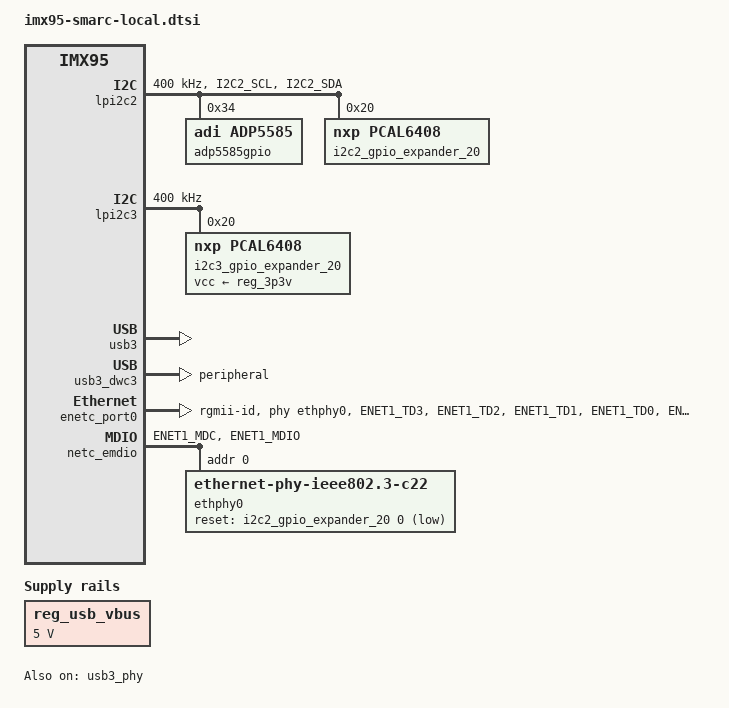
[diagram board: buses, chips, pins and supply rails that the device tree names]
// SPDX-License-Identifier: GPL-2.0+
/*
 * Copyright 2025 NXP
 */

#include <dt-bindings/usb/pd.h>

/ {
	aliases {
		ethernet0 = &enetc_port0;
		spi0 = &flexspi1;
		usb0 = &usb3_dwc3;
	};

	chosen {
		bootargs = "console=ttyLP0,115200 earlycon";
	};

	reg_usb_vbus: regulator-vbus {
		compatible = "regulator-fixed";
		regulator-name = "USB_VBUS";
		regulator-min-microvolt = <5000000>;
		regulator-max-microvolt = <5000000>;
		enable-active-high;
		regulator-always-on;
	};

};

&lpi2c2 {
	#address-cells = <1>;
	#size-cells = <0>;
	clock-frequency = <400000>;
	pinctrl-names = "default", "sleep";
	pinctrl-0 = <&pinctrl_lpi2c2>;
	pinctrl-1 = <&pinctrl_lpi2c2>;
	status = "okay";

	adp5585gpio: gpio@34 {
		compatible = "adi,adp5585";
		reg = <0x34>;
		gpio-controller;
		#gpio-cells = <2>;
	};

	i2c2_gpio_expander_20: i2c2-gpio-expander@20 {
		compatible = "nxp,pcal6408";
		reg = <0x20>;
		gpio-controller;
		#gpio-cells = <2>;
	};
};

&lpi2c3 {
	#address-cells = <1>;
	#size-cells = <0>;
	clock-frequency = <400000>;
	pinctrl-names = "default", "sleep";
	pinctrl-0 = <&pinctrl_lpi2c3>;
	pinctrl-1 = <&pinctrl_lpi2c3>;
	status = "okay";

	i2c3_gpio_expander_20: i2c3-gpio-expander@20 {
		compatible = "nxp,pcal6408";
		#gpio-cells = <2>;
		gpio-controller;
		reg = <0x20>;
		vcc-supply = <&reg_3p3v>;
	};
};

&lpi2c7 {
};

&usb3 {
	status = "okay";
};

&usb3_phy {
	status = "okay";
};

&usb3_dwc3 {
	dr_mode = "peripheral";
	status = "okay";
};

&enetc_port0 {
	pinctrl-names = "default";
	pinctrl-0 = <&pinctrl_enetc0>;
	phy-handle = <&ethphy0>;
	phy-mode = "rgmii-id";
	status = "okay";
};

&netc_emdio {
	pinctrl-names = "default";
	pinctrl-0 = <&pinctrl_emdio>;
	status = "okay";

	ethphy0: ethernet-phy@0 {
		reg = <0>;
		compatible = "ethernet-phy-ieee802.3-c22";
		eee-broken-1000t;
		reset-gpios = <&i2c2_gpio_expander_20 0 GPIO_ACTIVE_LOW>;
		reset-assert-us = <35000>;
		reset-deassert-us = <75000>;
		rx-internal-delay-ps = <1900>;
	};
};

&scmi_iomuxc {
	pinctrl_lpi2c2: lpi2c2grp {
		fsl,pins = <
			IMX95_PAD_I2C2_SCL__AONMIX_TOP_LPI2C2_SCL	0x40000b9e
			IMX95_PAD_I2C2_SDA__AONMIX_TOP_LPI2C2_SDA	0x40000b9e
		>;
	};

	pinctrl_ptn5110: ptn5110grp {
		fsl,pins = <
			IMX95_PAD_GPIO_IO34__GPIO5_IO_BIT14			0x31e
		>;
	};

	pinctrl_emdio: emdiogrp{
		fsl,pins = <
			IMX95_PAD_ENET1_MDC__NETCMIX_TOP_NETC_MDC		0x57e
			IMX95_PAD_ENET1_MDIO__NETCMIX_TOP_NETC_MDIO		0x97e
		>;
	};

	pinctrl_enetc0: enetc0grp {
		fsl,pins = <
			IMX95_PAD_ENET1_TD3__NETCMIX_TOP_ETH0_RGMII_TD3		0x57e
			IMX95_PAD_ENET1_TD2__NETCMIX_TOP_ETH0_RGMII_TD2		0x57e
			IMX95_PAD_ENET1_TD1__NETCMIX_TOP_ETH0_RGMII_TD1		0x57e
			IMX95_PAD_ENET1_TD0__NETCMIX_TOP_ETH0_RGMII_TD0		0x57e
			IMX95_PAD_ENET1_TX_CTL__NETCMIX_TOP_ETH0_RGMII_TX_CTL	0x57e
			IMX95_PAD_ENET1_TXC__NETCMIX_TOP_ETH0_RGMII_TX_CLK	0x5fe
			IMX95_PAD_ENET1_RX_CTL__NETCMIX_TOP_ETH0_RGMII_RX_CTL	0x57e
			IMX95_PAD_ENET1_RXC__NETCMIX_TOP_ETH0_RGMII_RX_CLK	0x5fe
			IMX95_PAD_ENET1_RD0__NETCMIX_TOP_ETH0_RGMII_RD0		0x57e
			IMX95_PAD_ENET1_RD1__NETCMIX_TOP_ETH0_RGMII_RD1		0x57e
			IMX95_PAD_ENET1_RD2__NETCMIX_TOP_ETH0_RGMII_RD2		0x57e
			IMX95_PAD_ENET1_RD3__NETCMIX_TOP_ETH0_RGMII_RD3		0x57e
		>;
	};

	pinctrl_enetc1: enetc1grp {
		fsl,pins = <
			IMX95_PAD_ENET2_TD3__NETCMIX_TOP_ETH1_RGMII_TD3		0x57e
			IMX95_PAD_ENET2_TD2__NETCMIX_TOP_ETH1_RGMII_TD2		0x57e
			IMX95_PAD_ENET2_TD1__NETCMIX_TOP_ETH1_RGMII_TD1		0x57e
			IMX95_PAD_ENET2_TD0__NETCMIX_TOP_ETH1_RGMII_TD0		0x57e
			IMX95_PAD_ENET2_TX_CTL__NETCMIX_TOP_ETH1_RGMII_TX_CTL	0x57e
			IMX95_PAD_ENET2_TXC__NETCMIX_TOP_ETH1_RGMII_TX_CLK	0x5fe
			IMX95_PAD_ENET2_RX_CTL__NETCMIX_TOP_ETH1_RGMII_RX_CTL	0x57e
			IMX95_PAD_ENET2_RXC__NETCMIX_TOP_ETH1_RGMII_RX_CLK	0x5fe
			IMX95_PAD_ENET2_RD0__NETCMIX_TOP_ETH1_RGMII_RD0		0x57e
			IMX95_PAD_ENET2_RD1__NETCMIX_TOP_ETH1_RGMII_RD1		0x57e
			IMX95_PAD_ENET2_RD2__NETCMIX_TOP_ETH1_RGMII_RD2		0x57e
			IMX95_PAD_ENET2_RD3__NETCMIX_TOP_ETH1_RGMII_RD3		0x57e
		>;
	};

	pinctrl_mipi_dsi_csi: mipidsigrp {
		fsl,pins = <
			IMX95_PAD_CCM_CLKO2__GPIO3_IO_BIT27			0x31e
		>;
	};
};
